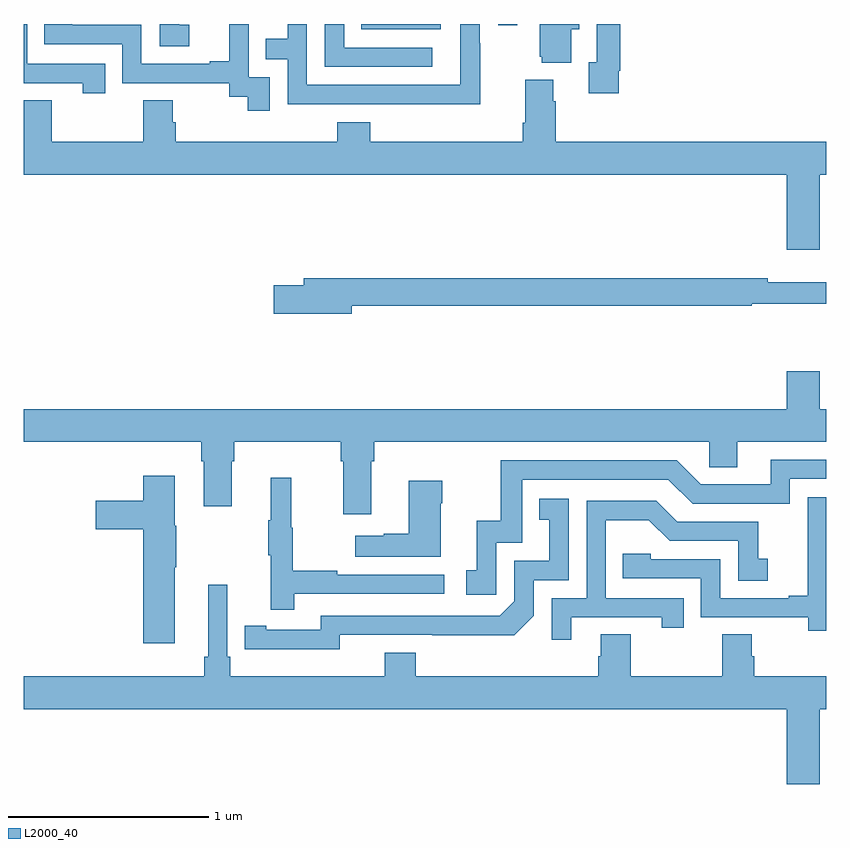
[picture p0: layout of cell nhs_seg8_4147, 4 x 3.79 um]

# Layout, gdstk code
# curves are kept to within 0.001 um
import gdstk
lib = gdstk.Library(unit=1e-6, precision=1e-09)
def R(c, l, rs):  # rectangles x0, y0, x1, y1
    for r in rs: c.add(gdstk.rectangle(r[:2], r[2:], *l))
def P(c, l, *ps):  # polygons
    for p in ps: c.add(gdstk.Polygon(p, *l))
L2000_40 = (2000, 40)

nhs_seg8_4147 = lib.new_cell('nhs_seg8_4147')
R(nhs_seg8_4147, L2000_40, [(366.682,1135.874,367.078,1135.9), (367.365,1135.893,367.461,1135.9)])
P(nhs_seg8_4147, L2000_40, [(367.275,1135.805),(367.272,1135.805),(367.272,1135.9),(367.176,1135.9),(367.176,1135.826),(367.175,1135.826),(367.175,1135.596),(366.411,1135.596),(366.411,1135.9),(366.315,1135.9),(366.315,1135.826),(366.205,1135.826),(366.205,1135.725),(366.315,1135.725),(366.315,1135.5),(366.811,1135.5),(366.811,1135.499),(367.275,1135.499)],
  [(367.729,1135.874),(367.768,1135.874),(367.768,1135.9),(367.571,1135.9),(367.571,1135.737),(367.583,1135.737),(367.583,1135.706),(367.729,1135.706)],
  [(365.824,1135.897),(365.775,1135.897),(365.775,1135.9),(365.676,1135.9),(365.676,1135.788),(365.824,1135.788)],
  [(365.405,1135.701),(365.016,1135.701),(365.016,1135.9),(365,1135.9),(365,1135.605),(365.294,1135.605),(365.294,1135.554),(365.405,1135.554)],
  [(366.225,1135.635),(366.12,1135.635),(366.12,1135.865),(366.122,1135.865),(366.122,1135.9),(366.023,1135.9),(366.023,1135.714),(365.927,1135.714),(365.927,1135.701),(365.586,1135.701),(365.586,1135.896),(365.241,1135.896),(365.241,1135.9),(365.101,1135.9),(365.101,1135.8),(365.49,1135.8),(365.49,1135.605),(366.024,1135.605),(366.024,1135.537),(366.117,1135.537),(366.117,1135.467),(366.225,1135.467)],
  [(367.966,1135.666),(367.973,1135.666),(367.973,1135.9),(367.857,1135.9),(367.857,1135.71),(367.817,1135.71),(367.817,1135.554),(367.966,1135.554)],
  [(367.036,1135.782),(366.597,1135.782),(366.597,1135.9),(366.501,1135.9),(366.501,1135.686),(367.036,1135.686)],
  [(368.968,1135.148),(369,1135.148),(369,1135.312),(367.652,1135.312),(367.652,1135.514),(367.639,1135.514),(367.639,1135.621),(367.499,1135.621),(367.499,1135.408),(367.487,1135.408),(367.487,1135.312),(366.728,1135.312),(366.728,1135.411),(366.563,1135.411),(366.563,1135.312),(365.756,1135.312),(365.756,1135.41),(365.743,1135.41),(365.743,1135.52),(365.596,1135.52),(365.596,1135.312),(365.139,1135.312),(365.139,1135.52),(365,1135.52),(365,1135.148),(368.804,1135.148),(368.804,1134.774),(368.968,1134.774)],
  [(366.634,1134.496),(368.63,1134.496),(368.63,1134.504),(369,1134.504),(369,1134.613),(368.708,1134.613),(368.708,1134.632),(366.395,1134.632),(366.395,1134.596),(366.246,1134.596),(366.246,1134.454),(366.634,1134.454)],
  [(366.733,1133.72),(366.746,1133.72),(366.746,1133.816),(368.418,1133.816),(368.418,1133.689),(368.557,1133.689),(368.557,1133.816),(369,1133.816),(369,1133.98),(368.968,1133.98),(368.968,1134.169),(368.804,1134.169),(368.804,1133.98),(365,1133.98),(365,1133.816),(365.885,1133.816),(365.885,1133.72),(365.897,1133.72),(365.897,1133.496),(366.037,1133.496),(366.037,1133.72),(366.05,1133.72),(366.05,1133.816),(366.581,1133.816),(366.581,1133.72),(366.593,1133.72),(366.593,1133.454),(366.733,1133.454)],
  [(367.356,1133.313),(367.485,1133.313),(367.485,1133.628),(368.214,1133.628),(368.334,1133.508),(368.82,1133.508),(368.82,1133.631),(369,1133.631),(369,1133.727),(368.723,1133.727),(368.723,1133.604),(368.376,1133.604),(368.256,1133.724),(367.377,1133.724),(367.377,1133.422),(367.259,1133.422),(367.259,1133.175),(367.206,1133.175),(367.206,1133.055),(367.356,1133.055)],
  [(365.752,1133.191),(365.76,1133.191),(365.76,1133.397),(365.752,1133.397),(365.752,1133.647),(365.594,1133.647),(365.594,1133.523),(365.358,1133.523),(365.358,1133.381),(365.594,1133.381),(365.594,1132.812),(365.752,1132.812)],
  [(366.347,1133.058),(367.096,1133.058),(367.096,1133.154),(366.563,1133.154),(366.563,1133.174),(366.34,1133.174),(366.34,1133.388),(366.332,1133.388),(366.332,1133.638),(366.23,1133.638),(366.23,1133.425),(366.219,1133.425),(366.219,1133.251),(366.23,1133.251),(366.23,1132.98),(366.347,1132.98)],
  [(367.078,1133.51),(367.086,1133.51),(367.086,1133.623),(366.92,1133.623),(366.92,1133.357),(366.794,1133.357),(366.794,1133.347),(366.651,1133.347),(366.651,1133.243),(367.078,1133.243)],
  [(369,1133.539),(368.908,1133.539),(368.908,1133.333),(368.909,1133.333),(368.909,1133.05),(368.813,1133.05),(368.813,1133.037),(368.472,1133.037),(368.472,1133.232),(368.127,1133.232),(368.127,1133.259),(367.987,1133.259),(367.987,1133.136),(368.376,1133.136),(368.376,1132.941),(368.91,1132.941),(368.91,1132.873),(369,1132.873)],
  [(366.576,1132.854),(367.444,1132.853),(367.542,1132.95),(367.542,1133.127),(367.716,1133.127),(367.716,1133.533),(367.57,1133.533),(367.57,1133.427),(367.619,1133.427),(367.619,1133.223),(367.446,1133.223),(367.446,1133.022),(367.374,1132.95),(366.48,1132.95),(366.48,1132.878),(366.208,1132.878),(366.208,1132.898),(366.1,1132.898),(366.1,1132.782),(366.576,1132.781)],
  [(367.729,1132.941),(368.18,1132.941),(368.18,1132.89),(368.291,1132.89),(368.291,1133.037),(367.902,1133.037),(367.902,1133.426),(368.116,1133.426),(368.22,1133.322),(368.562,1133.322),(368.562,1133.124),(368.71,1133.124),(368.71,1133.233),(368.661,1133.233),(368.661,1133.418),(368.257,1133.418),(368.152,1133.523),(367.806,1133.523),(367.806,1133.037),(367.632,1133.037),(367.632,1132.83),(367.729,1132.83)],
  [(368.968,1132.484),(369,1132.484),(369,1132.648),(368.642,1132.648),(368.642,1132.746),(368.629,1132.746),(368.629,1132.856),(368.482,1132.856),(368.482,1132.648),(368.025,1132.648),(368.025,1132.856),(367.877,1132.856),(367.877,1132.746),(367.865,1132.746),(367.865,1132.648),(366.953,1132.648),(366.953,1132.765),(366.8,1132.765),(366.8,1132.648),(366.029,1132.648),(366.029,1132.744),(366.015,1132.744),(366.015,1133.104),(365.918,1133.104),(365.918,1132.744),(365.899,1132.744),(365.899,1132.648),(365,1132.648),(365,1132.484),(368.804,1132.484),(368.804,1132.11),(368.968,1132.11)])

lib.write_gds('nhs_seg8_4147.gds')
